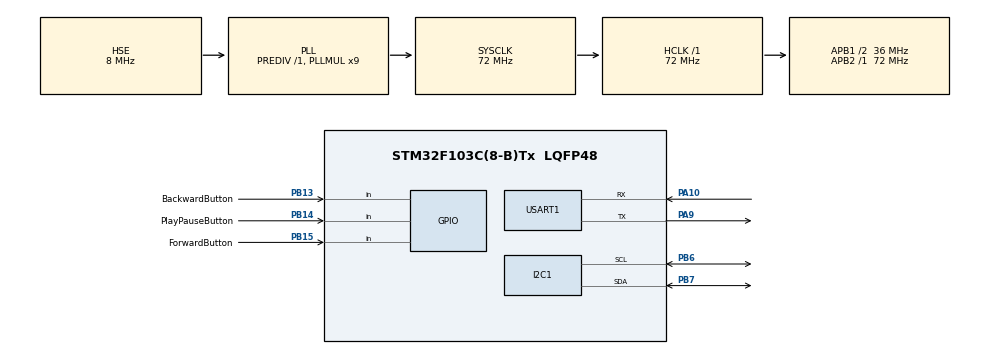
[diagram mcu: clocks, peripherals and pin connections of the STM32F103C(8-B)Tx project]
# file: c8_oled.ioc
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I2C1.I2C_Mode=I2C_Fast
Mcu.Family=STM32F1
Mcu.Name=STM32F103C(8-B)Tx
Mcu.Package=LQFP48
NVIC.PriorityGroup=NVIC_PRIORITYGROUP_4
NVIC.TIM2_IRQn=true\:15\:0\:false\:false\:true\:false\:true\:true
NVIC.TimeBase=TIM2_IRQn
NVIC.TimeBaseIP=TIM2
PA10.Mode=Asynchronous
PA10.Signal=USART1_RX
PA13.Mode=Serial_Wire
PA13.Signal=SYS_JTMS-SWDIO
PA14.Mode=Serial_Wire
PA14.Signal=SYS_JTCK-SWCLK
PA9.Mode=Asynchronous
PA9.Signal=USART1_TX
PB13.GPIO_Label=BackwardButton
PB13.Signal=GPIO_Input
PB14.GPIO_Label=PlayPauseButton
PB14.Signal=GPIO_Input
PB15.GPIO_Label=ForwardButton
PB15.Signal=GPIO_Input
PB6.Mode=I2C
PB6.Signal=I2C1_SCL
PB7.Mode=I2C
PB7.Signal=I2C1_SDA
PD0-OSC_IN.Mode=HSE-External-Oscillator
PD0-OSC_IN.Signal=RCC_OSC_IN
PD1-OSC_OUT.Mode=HSE-External-Oscillator
PD1-OSC_OUT.Signal=RCC_OSC_OUT
ProjectManager.HeapSize=0x200
ProjectManager.StackSize=0x400
ProjectManager.TargetToolchain=STM32CubeIDE
RCC.AHBFreq_Value=72000000
RCC.APB1CLKDivider=RCC_HCLK_DIV2
RCC.APB1Freq_Value=36000000
RCC.APB1TimFreq_Value=72000000
RCC.APB2Freq_Value=72000000
RCC.APB2TimFreq_Value=72000000
RCC.HCLKFreq_Value=72000000
RCC.PLLMUL=RCC_PLL_MUL9
RCC.PLLSourceVirtual=RCC_PLLSOURCE_HSE
RCC.SYSCLKFreq_VALUE=72000000
RCC.SYSCLKSource=RCC_SYSCLKSOURCE_PLLCLK
RCC.USBFreq_Value=72000000
USART1.VirtualMode=VM_ASYNC
VP_SYS_VS_tim2.Mode=TIM2
board=custom

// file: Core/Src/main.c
/* USER CODE BEGIN Header */
/**
  ******************************************************************************
  * @file           : main.c
  * @brief          : Main program body
  ******************************************************************************
  * @attention
  *
  * Copyright (c) 2022 STMicroelectronics.
  * All rights reserved.
  *
  * This software is licensed under terms that can be found in the LICENSE file
  * in the root directory of this software component.
  * If no LICENSE file comes with this software, it is provided AS-IS.
  *
  ******************************************************************************
  */
/* USER CODE END Header */
#include "main.h"

/* USER CODE BEGIN Includes */
#include "fonts.h"
#include "ssd1306.h"
#include "customChar.h"
#include "string.h"
/* USER CODE END Includes */

 I2C_HandleTypeDef hi2c1;

UART_HandleTypeDef huart1;

void SystemClock_Config(void);
static void MX_GPIO_Init(void);
static void MX_I2C1_Init(void);
static void MX_USART1_UART_Init(void);

int main(void)
{

  /* MCU Configuration--------------------------------------------------------*/

  /* Reset of all peripherals, Initializes the Flash interface and the Systick. */
  HAL_Init();

  /* Configure the system clock */
  SystemClock_Config();

  /* Initialize all configured peripherals */
  MX_GPIO_Init();
  MX_I2C1_Init();
  MX_USART1_UART_Init();
  /* USER CODE BEGIN 2 */

  /*Se inicia la pantalla OLED*/
  SSD1306_Init();

  /*Declaración a variables a utilizar*/
  char snum[5];
  char dnum[5];
  char cnum[5];
  char mnum[5];

  int seg=0;
  int seg2=1;
  int min1=1;
  int min2=1;

  int toggle=0;
  char pack[50]={" "};
  char command;

  /*Función que realiza una pantalla de bienvenida*/
  logo_init();

  /*Diseño de pantalla inicial*/
  SSD1306_GotoXY (30,30);
  SSD1306_Puts ("00:00", &Font_11x18, 1);
  SSD1306_UpdateScreen();

  /* USER CODE END 2 */

  /* Infinite loop */
  /* USER CODE BEGIN WHILE */
  while (1)
  {

	 /*Función que realiza la animación del ecualizador y se actualiza la pantalla*/
	 toggle_anim(toggle);
	 SSD1306_UpdateScreen();

	 /*Proceso para el recivir datos a través de la comunicación serial*/
	 HAL_UART_Receive(&huart1, &pack, sizeof(pack),3000);

	 /*Declaración de variable dinámicas*/
	 char *token=strtok(pack,",");
	 int cont=0;

	 /*Ciclo while para separar los datos recibos por serial*/
	 while (token !=NULL){
		 /*Obtención del nombre de la canción*/
		 if (cont==0){
			SSD1306_DrawFilledRectangle(0,0, 124,10, 0);
			SSD1306_UpdateScreen();
			SSD1306_GotoXY (0,0);
			SSD1306_Puts (token, &Font_7x10, 1);
		 }
		 /*Obtención del nombre del artist@ o banda*/
		 else if (cont==1){
			SSD1306_DrawFilledRectangle(0,16, 124,10, 0);
			SSD1306_UpdateScreen();
			SSD1306_GotoXY (0,16);
			SSD1306_Puts (token, &Font_7x10, 1);
		 }
		 /*Obtención del tiempo*/
		 else if (cont==2){
			SSD1306_DrawFilledRectangle(27,29, 124,18, 0);
			SSD1306_UpdateScreen();
			/*conversión de caracter a int*/
			int x=atoi(token);
			/*obtención de dígitos individuales*/
			int unit= x%10;
			int deci=((x%100)-unit)/10;
			int cent=x/100;
			int mil=0;
			/*conversión de int a caracter*/
			itoa(unit, snum,10);
			itoa(deci, dnum,10);
			itoa(cent, cnum,10);
			itoa(mil, mnum,10);
			/*impresión de los datos*/
			SSD1306_GotoXY (27,29);
			SSD1306_Puts (mnum, &Font_11x18, 1);
			SSD1306_Puts (cnum, &Font_11x18, 1);
			SSD1306_GotoXY (67,29);
			SSD1306_Puts (dnum, &Font_11x18, 1);
			SSD1306_Puts (snum, &Font_11x18, 1);
		 }
		 /*argumento de separación ',' y contador*/
		 token= strtok(NULL, ",");
		 cont++;
	 }

	 /*Diseño de botones interactivos*/
	 SSD1306_DrawBitmap(20,46,bitmap_backward,15,15,1);
	 SSD1306_DrawBitmap(50,36,bitmap_play,16,16,1);
	 SSD1306_DrawBitmap(80,46,bitmap_forward,15,15,1);
	 SSD1306_UpdateScreen();

	 /*Declaración de caracter a transmitir con botones interactivos*/
	 char character=0b000;

	 /*Lectura de los botones*/
	 int one=HAL_GPIO_ReadPin(GPIOB, PlayPauseButton_Pin);
	 int two=HAL_GPIO_ReadPin(GPIOB, BackwardButton_Pin);
	 int three=HAL_GPIO_ReadPin(GPIOB, ForwardButton_Pin);

	 /*Condición para la transmisión para el caso playPause*/
	 if (one){
		 command=0x1;
		 char dataT[2]={command,'\n'};
		 HAL_UART_Transmit(&huart1, &dataT, sizeof(dataT),150);
		 SSD1306_DrawBitmap(50,36,bitmap_play,16,16,0);
		 SSD1306_UpdateScreen();
		 SSD1306_DrawBitmap(50,36,bitmap_pause,15,16,1);
		 SSD1306_UpdateScreen();
		 HAL_Delay(100);
		 SSD1306_DrawBitmap(50,36,bitmap_pause,15,16,0);
		 SSD1306_UpdateScreen();
		 HAL_Delay(100);
		 SSD1306_DrawBitmap(50,36,bitmap_play,16,16,1);
		 SSD1306_UpdateScreen();
	 }
	 /*Condición para la transmisión para el caso Backward*/
	 if (two){
		 command=0x2;
		 SSD1306_DrawRectangle(20,46,15,15,1);
		 SSD1306_UpdateScreen();
		 char dataT[2]={command,'\n'};
		 HAL_UART_Transmit(&huart1, &dataT, sizeof(dataT),150);

	 }
	 /*Condición para la transmisión para el caso NOT Backward*/
	 else if (!two){
		 SSD1306_DrawRectangle(20,46,15,15,0);
		 SSD1306_UpdateScreen();
	 }
	 /*Condición para la transmisión para el caso Forward*/
	 if (three){
		 command=0x3;
		 SSD1306_DrawRectangle(80,46,15,15,1);
		 SSD1306_UpdateScreen();
		 char dataT[2]={command,'\n'};
		 HAL_UART_Transmit(&huart1, &dataT, sizeof(dataT),150);

	 }
	 /*Condición para la transmisión para el NOT Forward*/
	 else if (!three){
		 SSD1306_DrawRectangle(80,46,15,15,0);
		 SSD1306_UpdateScreen();
	 }

	 /*Función que realiza la animación del ecualizador y se actualiza la pantalla*/
	 toggle_anim(toggle);

	 /*Condición de cambio de la animación del ecualizador*/
	 if (toggle==2){
		 toggle=-1;
	 }
	 toggle++;

	 /*Se actualiza la pantalla*/
	 SSD1306_UpdateScreen();

	 /*Se borra la pantalla de animación del ecualizador*/
	 SSD1306_DrawFilledRectangle(42,52, 35,9, 0);
	 HAL_Delay(2500);

	 /*Se actualiza la pantalla*/
	 SSD1306_UpdateScreen();

    /* USER CODE END WHILE */

}
}

void SystemClock_Config(void)
{
  RCC_OscInitTypeDef RCC_OscInitStruct = {0};
  RCC_ClkInitTypeDef RCC_ClkInitStruct = {0};

  /** Initializes the RCC Oscillators according to the specified parameters
  * in the RCC_OscInitTypeDef structure.
  */
  RCC_OscInitStruct.OscillatorType = RCC_OSCILLATORTYPE_HSE;
  RCC_OscInitStruct.HSEState = RCC_HSE_ON;
  RCC_OscInitStruct.HSEPredivValue = RCC_HSE_PREDIV_DIV1;
  RCC_OscInitStruct.HSIState = RCC_HSI_ON;
  RCC_OscInitStruct.PLL.PLLState = RCC_PLL_ON;
  RCC_OscInitStruct.PLL.PLLSource = RCC_PLLSOURCE_HSE;
  RCC_OscInitStruct.PLL.PLLMUL = RCC_PLL_MUL9;
  if (HAL_RCC_OscConfig(&RCC_OscInitStruct) != HAL_OK)
  {
    Error_Handler();
  }

  /** Initializes the CPU, AHB and APB buses clocks
  */
  RCC_ClkInitStruct.ClockType = RCC_CLOCKTYPE_HCLK|RCC_CLOCKTYPE_SYSCLK
                              |RCC_CLOCKTYPE_PCLK1|RCC_CLOCKTYPE_PCLK2;
  RCC_ClkInitStruct.SYSCLKSource = RCC_SYSCLKSOURCE_PLLCLK;
  RCC_ClkInitStruct.AHBCLKDivider = RCC_SYSCLK_DIV1;
  RCC_ClkInitStruct.APB1CLKDivider = RCC_HCLK_DIV2;
  RCC_ClkInitStruct.APB2CLKDivider = RCC_HCLK_DIV1;

  if (HAL_RCC_ClockConfig(&RCC_ClkInitStruct, FLASH_LATENCY_2) != HAL_OK)
  {
    Error_Handler();
  }
}

static void MX_I2C1_Init(void)
{

  hi2c1.Instance = I2C1;
  hi2c1.Init.ClockSpeed = 400000;
  hi2c1.Init.DutyCycle = I2C_DUTYCYCLE_2;
  hi2c1.Init.OwnAddress1 = 0;
  hi2c1.Init.AddressingMode = I2C_ADDRESSINGMODE_7BIT;
  hi2c1.Init.DualAddressMode = I2C_DUALADDRESS_DISABLE;
  hi2c1.Init.OwnAddress2 = 0;
  hi2c1.Init.GeneralCallMode = I2C_GENERALCALL_DISABLE;
  hi2c1.Init.NoStretchMode = I2C_NOSTRETCH_DISABLE;
  if (HAL_I2C_Init(&hi2c1) != HAL_OK)
  {
    Error_Handler();
  }

}

static void MX_USART1_UART_Init(void)
{

  huart1.Instance = USART1;
  huart1.Init.BaudRate = 115200;
  huart1.Init.WordLength = UART_WORDLENGTH_8B;
  huart1.Init.StopBits = UART_STOPBITS_1;
  huart1.Init.Parity = UART_PARITY_NONE;
  huart1.Init.Mode = UART_MODE_TX_RX;
  huart1.Init.HwFlowCtl = UART_HWCONTROL_NONE;
  huart1.Init.OverSampling = UART_OVERSAMPLING_16;
  if (HAL_UART_Init(&huart1) != HAL_OK)
  {
    Error_Handler();
  }

}

static void MX_GPIO_Init(void)
{
  GPIO_InitTypeDef GPIO_InitStruct = {0};

  /* GPIO Ports Clock Enable */
  __HAL_RCC_GPIOD_CLK_ENABLE();
  __HAL_RCC_GPIOB_CLK_ENABLE();
  __HAL_RCC_GPIOA_CLK_ENABLE();

  /*Configure GPIO pins : BackwardButton_Pin PlayPauseButton_Pin ForwardButton_Pin */
  GPIO_InitStruct.Pin = BackwardButton_Pin|PlayPauseButton_Pin|ForwardButton_Pin;
  GPIO_InitStruct.Mode = GPIO_MODE_INPUT;
  GPIO_InitStruct.Pull = GPIO_NOPULL;
  HAL_GPIO_Init(GPIOB, &GPIO_InitStruct);

}

/* USER CODE BEGIN 4 */

/*Función de impresión de mapas de bit para la animación de bienvenida*/
void logo_init (void){

	  /*LOGO ANIMATION*/
	  SSD1306_GotoXY (0,0);
	  SSD1306_Puts ("Prehispanic", &Font_11x18, 1);
	  SSD1306_DrawBitmap(0,15,bitmap_prehispanic,78,64,1);

	  SSD1306_GotoXY (88,30);
	  SSD1306_Puts ("MX", &Font_11x18, 1);
	  SSD1306_GotoXY (88,48);
	  SSD1306_Puts ("Auto", &Font_7x10, 1);
	  SSD1306_UpdateScreen();
	  HAL_Delay(3000);
	  SSD1306_Clear();

	  /*MP3 LOGO*/
	  SSD1306_DrawBitmap(0,1,bitmap_mp3,64,32,1);
	  SSD1306_GotoXY (70,40);
	  SSD1306_Puts ("Welcome", &Font_7x10, 1);
	  SSD1306_GotoXY (70,50);
	  SSD1306_Puts ("CarSys", &Font_7x10, 1);
	  SSD1306_UpdateScreen();
	  HAL_Delay(2000);
	  SSD1306_Clear();

	  /*CAR ANIMATION*/
	  SSD1306_DrawBitmap(15,1,bitmap_car1,111,60,1);
	  SSD1306_UpdateScreen();
	  HAL_Delay(150);
	  SSD1306_Clear();

	  SSD1306_DrawBitmap(15,1,bitmap_car2,91,64,1);
	  SSD1306_UpdateScreen();
	  HAL_Delay(150);
	  SSD1306_Clear();

	  SSD1306_DrawBitmap(15,1,bitmap_car3,66,64,1);
	  SSD1306_UpdateScreen();
	  HAL_Delay(150);
	  SSD1306_Clear();

	  SSD1306_DrawBitmap(15,1,bitmap_car4,60,64,1);
	  SSD1306_UpdateScreen();
	  HAL_Delay(150);
	  SSD1306_Clear();

	  SSD1306_DrawBitmap(15,1,bitmap_car5,91,64,1);
	  SSD1306_UpdateScreen();
	  HAL_Delay(150);
	  SSD1306_Clear();

	  SSD1306_DrawBitmap(15,1,bitmap_car6,106,56,1);
	  SSD1306_UpdateScreen();
	  HAL_Delay(150);
	  SSD1306_Clear();

	  SSD1306_DrawBitmap(15,1,bitmap_car7,105,62,1);
	  SSD1306_UpdateScreen();
	  HAL_Delay(150);
	  SSD1306_Clear();

	  SSD1306_DrawBitmap(15,1,bitmap_car8,80,64,1);
	  SSD1306_UpdateScreen();
	  HAL_Delay(150);
	  SSD1306_Clear();

	  SSD1306_DrawBitmap(15,1,bitmap_car9,61,64,1);
	  SSD1306_UpdateScreen();
	  HAL_Delay(150);
	  SSD1306_Clear();

	  SSD1306_DrawBitmap(15,1,bitmap_car10,54,64,1);
	  SSD1306_UpdateScreen();
	  HAL_Delay(150);
	  SSD1306_Clear();

	  SSD1306_DrawBitmap(15,1,bitmap_car11,86,64,1);
	  SSD1306_UpdateScreen();
	  HAL_Delay(150);
	  SSD1306_Clear();

	  SSD1306_DrawBitmap(15,1,bitmap_car12,108,61,1);
	  SSD1306_UpdateScreen();
	  HAL_Delay(150);
	  SSD1306_Clear();
}

/*Función de impresión de mapas de bit para la animación del ecualizador*/
void toggle_anim(int toggle){
	if (toggle==0){
		 SSD1306_DrawBitmap(42,52,bitmap_eq1,35,8,1);
		 toggle=1;
	}
	else if (toggle==1){
		 SSD1306_DrawBitmap(42,52,bitmap_eq2,35,7,1);
		 toggle=2;
	}
	else if (toggle==2){
		 SSD1306_DrawBitmap(42,52,bitmap_eq3,35,9,1);
		 toggle=0;
	}
}
/* USER CODE END 4 */

void HAL_TIM_PeriodElapsedCallback(TIM_HandleTypeDef *htim)
{
  if (htim->Instance == TIM2) {
    HAL_IncTick();
  }
}

void Error_Handler(void)
{
  __disable_irq();
  while (1)
  {
  }
}
